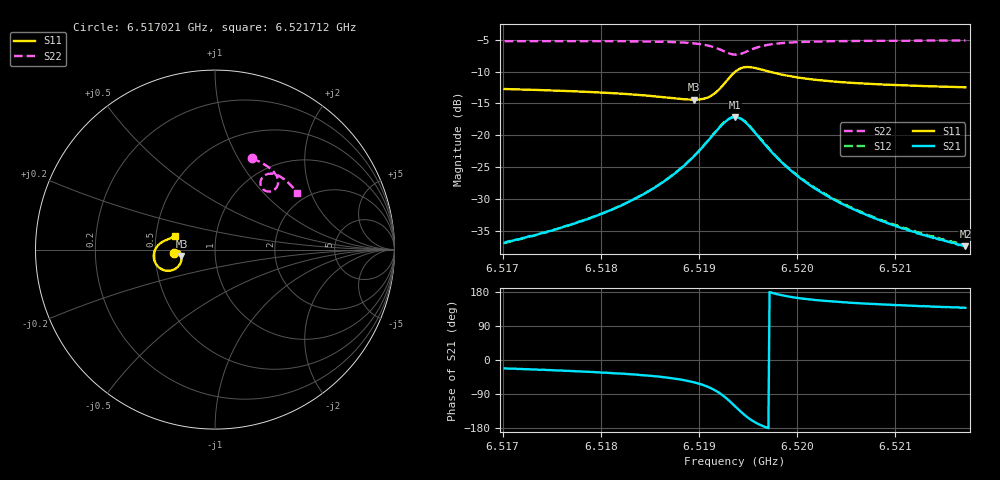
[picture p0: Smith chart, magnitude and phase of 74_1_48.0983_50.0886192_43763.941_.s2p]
#  HZ  S  RI  R  50.00
! Rohde & Schwarz Vector Network Analyzer
! Rohde-Schwarz,ZNB20-2Port,1311601062101988,3.16
! Created: UTC 12/23/2023, 3:42:05 AM
! freq[Hz]  re:S11  im:S11  re:S21  im:S21  re:S12  im:S12  re:S22  im:S22
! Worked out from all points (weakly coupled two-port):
!   401 points, 6.517021 GHz to 6.521712 GHz, reference 50 ohm
!   highest |S21| = -17.16 dB at 6.519366 GHz (marker M1); lowest = -37.4 dB at 6.521712 GHz (marker M2)
!   lowest |S11| = -14.4 dB at 6.518944 GHz (marker M3), VSWR 1.47, Z = 34.2 - j2.48 ohm
!   |S11| at or under -10 dB: start of sweep to 6.519369 GHz; 6.519717 GHz to end of sweep
!   |S22| runs from -7.3 to -5.1 dB; largest |S21 - S12| = 0.0042
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6.5170205e9  -0.2304 -0.0169  0.0132 -0.00537  0.0134 -0.00496  0.2052 0.5087
6.5173372e9  -0.2269 -0.0123  0.0149 -0.00698  0.0151 -0.0064  0.2285 0.4989
6.5178063e9  -0.2202 -0.00665  0.0182 -0.0107  0.0187 -0.0101  0.2632 0.4814
6.5182168e9  -0.212 -0.00474  0.023 -0.0166  0.0234 -0.0159  0.2941 0.4621
6.5185921e9  -0.2007 -0.00965  0.0295 -0.0282  0.0303 -0.0275  0.3232 0.4374
6.518768e9  -0.1937 -0.0177  0.033 -0.0391  0.0344 -0.0382  0.337 0.4209
6.5189439e9  -0.1872 -0.0349  0.0355 -0.0579  0.0374 -0.0571  0.3488 0.3966
6.5190612e9  -0.1868 -0.0563  0.032 -0.0787  0.0347 -0.0784  0.3516 0.3733
6.5191433e9  -0.1939 -0.0782  0.0222 -0.0983  0.0254 -0.0985  0.3464 0.3529
6.5192723e9  -0.2369 -0.1142  -0.0216 -0.1269  -0.0181 -0.1285  0.313 0.3245
6.5193193e9  -0.265 -0.118  -0.0474 -0.1275  -0.0441 -0.1299  0.2929 0.3238
6.5193662e9  -0.2948 -0.1104  -0.0734 -0.1177  -0.0707 -0.1208  0.2728 0.3323
6.5194131e9  -0.3199 -0.0918  -0.0939 -0.0988  -0.0917 -0.1021  0.2588 0.3484
6.5194717e9  -0.3378 -0.0602  -0.1061 -0.0692  -0.1049 -0.0728  0.2531 0.3727
6.5195655e9  -0.3386 -0.0144  -0.1017 -0.0298  -0.1017 -0.033  0.2652 0.4035
6.5196711e9  -0.3226 0.0173  -0.0845 -0.00507  -0.0852 -0.00769  0.288 0.4193
6.5198822e9  -0.2923 0.0434  -0.0562 0.011  -0.0572 0.00954  0.3262 0.4218
6.520152e9  -0.2694 0.0542  -0.037 0.014  -0.0378 0.0131  0.3584 0.4098
6.5205038e9  -0.2526 0.0611  -0.0245 0.013  -0.0252 0.0126  0.3878 0.39
6.5209377e9  -0.24 0.0675  -0.0167 0.0112  -0.0173 0.0111  0.4162 0.3644
6.5212427e9  -0.2334 0.0718  -0.0133 0.0103  -0.0139 0.0102  0.4335 0.3459
6.5217118e9  -0.2251 0.0783  -0.00995 0.00904  -0.0104 0.00885  0.4569 0.3171
